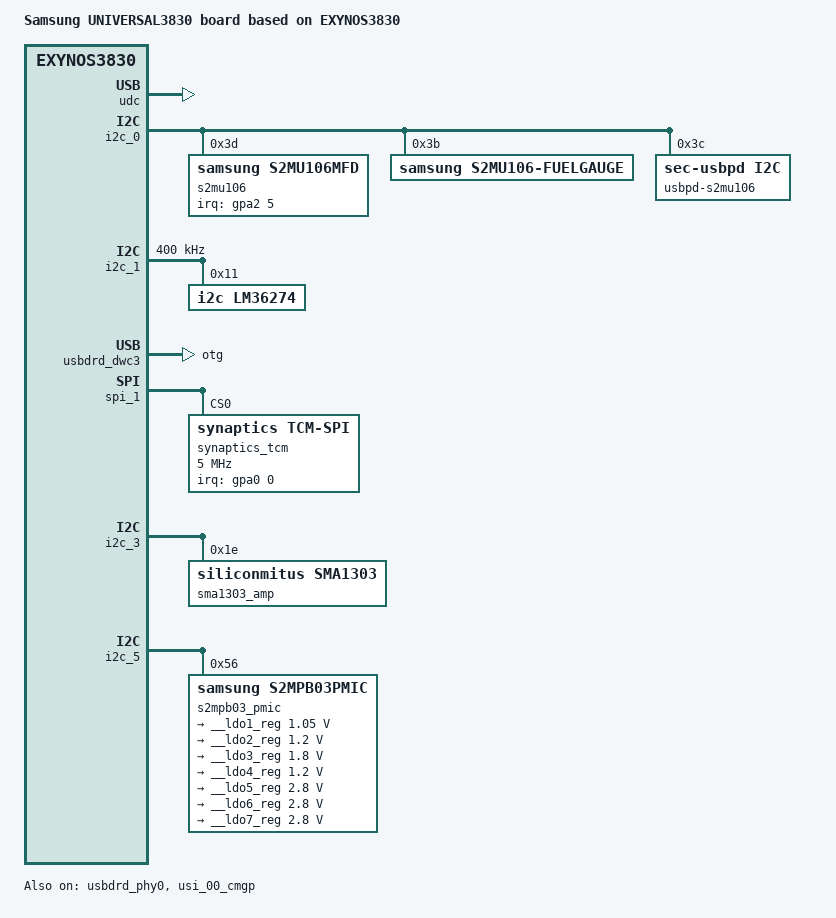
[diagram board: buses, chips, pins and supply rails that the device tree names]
/*
 * SAMSUNG EXYNOS3830 board device tree source
 *
 * Copyright (c) 2018 Samsung Electronics Co., Ltd.
 *		http://www.samsung.com
 *
 * This program is free software; you can redistribute it and/or modify
 * it under the terms of the GNU General Public License version 2 as
 * published by the Free Software Foundation.
*/

/dts-v1/;
/plugin/;
#include "exynos3830-board_common.dtsi"
#include "exynos3830-universal3830-cp-s318ap-sipc.dtsi"
#include "exynos3830_universal3830_battery_data.dtsi"

/ {
	compatible = "samsung,exynos3830", "samsung,UNIVERSAL3830";
	board_id = <0x0>;
	board_rev = <0x1>;

	fragment@model {
		target-path = "/";
		__overlay__ {
			#address-cells = <2>;
			#size-cells = <1>;

			model = "Samsung UNIVERSAL3830 board based on EXYNOS3830";

			dummy_audio_codec: audio-codec-dummy {
				compatible = "snd-soc-dummy";
				#sound-dai-cells = <0>;
			};

			sound {
				compatible = "samsung,exynos3830-madera";

				samsung,routing = "SPEAKER", "OUTL",
					"AEC Loopback", "SPEAKER FB",
					"ABOX SPDY Capture", "VINPUT_FM",
					"BLUETOOTH2 SPK", "ABOX UAIF2 Playback",
					"ABOX UAIF2 Capture", "BLUETOOTH2 MIC",
					"ECHO SPK", "ABOX ECHO Playback",
					"ABOX ECHO Capture", "ECHO MIC",
					"FWD SPK", "ABOX FWD Playback",
					"ABOX FWD Capture", "FWD MIC";

				samsung,aux = <&abox_tplg>;

				rdma0 {
					cpu {
						sound-dai = <&abox_rdma_0 0>;
					};
					platform {
						sound-dai = <&abox_rdma_0 0>;
					};
					codec {
						sound-dai = <&dummy_audio_codec>;
					};
				};
				rdma1 {
					cpu {
						sound-dai = <&abox_rdma_1 0>;
					};
					platform {
						sound-dai = <&abox_rdma_1 0>;
					};
					codec {
						sound-dai = <&dummy_audio_codec>;
					};
				};
				rdma2 {
					cpu {
						sound-dai = <&abox_rdma_2 0>;
					};
					platform {
						sound-dai = <&abox_rdma_2 0>;
					};
					codec {
						sound-dai = <&dummy_audio_codec>;
					};
				};
				rdma3 {
					cpu {
						sound-dai = <&abox_rdma_3 0>;
					};
					platform {
						sound-dai = <&abox_rdma_3 0>;
					};
					codec {
						sound-dai = <&dummy_audio_codec>;
					};
				};
				rdma4 {
					cpu {
						sound-dai = <&abox_rdma_4 0>;
					};
					platform {
						sound-dai = <&abox_rdma_4 0>;
					};
					codec {
						sound-dai = <&dummy_audio_codec>;
					};
				};
				rdma5 {
					cpu {
						sound-dai = <&abox_rdma_5 0>;
					};
					platform {
						sound-dai = <&abox_rdma_5 0>;
					};
					codec {
						sound-dai = <&dummy_audio_codec>;
					};
				};
				rdma6 {
					cpu {
						sound-dai = <&abox_rdma_6 0>;
					};
					platform {
						sound-dai = <&abox_rdma_6 0>;
					};
					codec {
						sound-dai = <&dummy_audio_codec>;
					};
				};
				rdma7 {
					cpu {
						sound-dai = <&abox_rdma_7 0>;
					};
					platform {
						sound-dai = <&abox_rdma_7 0>;
					};
					codec {
						sound-dai = <&dummy_audio_codec>;
					};
				};
				rdma8 {
					cpu {
						sound-dai = <&abox_rdma_8 0>;
					};
					platform {
						sound-dai = <&abox_rdma_8 0>;
					};
					codec {
						sound-dai = <&dummy_audio_codec>;
					};
				};
				rdma9 {
					cpu {
						sound-dai = <&abox_rdma_9 0>;
					};
					platform {
						sound-dai = <&abox_rdma_9 0>;
					};
					codec {
						sound-dai = <&dummy_audio_codec>;
					};
				};
				rdma10 {
					cpu {
						sound-dai = <&abox_rdma_10 0>;
					};
					platform {
						sound-dai = <&abox_rdma_10 0>;
					};
					codec {
						sound-dai = <&dummy_audio_codec>;
					};
				};
				rdma11 {
					cpu {
						sound-dai = <&abox_rdma_11 0>;
					};
					platform {
						sound-dai = <&abox_rdma_11 0>;
					};
					codec {
						sound-dai = <&dummy_audio_codec>;
					};
				};
				wdma0 {
					cpu {
						sound-dai = <&abox_wdma_0 0>;
					};
					platform {
						sound-dai = <&abox_wdma_0 0>;
					};
					codec {
						sound-dai = <&dummy_audio_codec>;
					};
				};
				wdma1 {
					cpu {
						sound-dai = <&abox_wdma_1 0>;
					};
					platform {
						sound-dai = <&abox_wdma_1 0>;
					};
					codec {
						sound-dai = <&dummy_audio_codec>;
					};
				};
				wdma2 {
					cpu {
						sound-dai = <&abox_wdma_2 0>;
					};
					platform {
						sound-dai = <&abox_wdma_2 0>;
					};
					codec {
						sound-dai = <&dummy_audio_codec>;
					};
				};
				wdma3 {
					cpu {
						sound-dai = <&abox_wdma_3 0>;
					};
					platform {
						sound-dai = <&abox_wdma_3 0>;
					};
					codec {
						sound-dai = <&dummy_audio_codec>;
					};
				};
				wdma4 {
					cpu {
						sound-dai = <&abox_wdma_4 0>;
					};
					platform {
						sound-dai = <&abox_wdma_4 0>;
					};
					codec {
						sound-dai = <&dummy_audio_codec>;
					};
				};
				dual0 {
					cpu {
						sound-dai = <&abox_dual_0>;
					};
					platform {
						sound-dai = <&abox_dual_0>;
					};
					codec {
						sound-dai = <&dummy_audio_codec>;
					};
				};
				dual1 {
					cpu {
						sound-dai = <&abox_dual_1>;
					};
					platform {
						sound-dai = <&abox_dual_1>;
					};
					codec {
						sound-dai = <&dummy_audio_codec>;
					};
				};
				dual2 {
					cpu {
						sound-dai = <&abox_dual_2>;
					};
					platform {
						sound-dai = <&abox_dual_2>;
					};
					codec {
						sound-dai = <&dummy_audio_codec>;
					};
				};
				dual3 {
					cpu {
						sound-dai = <&abox_dual_3>;
					};
					platform {
						sound-dai = <&abox_dual_3>;
					};
					codec {
						sound-dai = <&dummy_audio_codec>;
					};
				};
				dual4 {
					cpu {
						sound-dai = <&abox_dual_4>;
					};
					platform {
						sound-dai = <&abox_dual_4>;
					};
					codec {
						sound-dai = <&dummy_audio_codec>;
					};
				};
				ddma0 {
					cpu {
						sound-dai = <&abox_ddma_0>;
					};
					platform {
						sound-dai = <&abox_ddma_0>;
					};
					codec {
						sound-dai = <&dummy_audio_codec>;
					};
				};
				ddma1 {
					cpu {
						sound-dai = <&abox_ddma_1>;
					};
					platform {
						sound-dai = <&abox_ddma_1>;
					};
					codec {
						sound-dai = <&dummy_audio_codec>;
					};
				};
				ddma2 {
					cpu {
						sound-dai = <&abox_ddma_2>;
					};
					platform {
						sound-dai = <&abox_ddma_2>;
					};
					codec {
						sound-dai = <&dummy_audio_codec>;
					};
				};
				ddma3 {
					cpu {
						sound-dai = <&abox_ddma_3>;
					};
					platform {
						sound-dai = <&abox_ddma_3>;
					};
					codec {
						sound-dai = <&dummy_audio_codec>;
					};
				};
				ddma4 {
					cpu {
						sound-dai = <&abox_ddma_4>;
					};
					platform {
						sound-dai = <&abox_ddma_4>;
					};
					codec {
						sound-dai = <&dummy_audio_codec>;
					};
				};
				ddma5 {
					cpu {
						sound-dai = <&abox_ddma_5>;
					};
					platform {
						sound-dai = <&abox_ddma_5>;
					};
					codec {
						sound-dai = <&dummy_audio_codec>;
					};
				};
				uaif0 {
					format = "i2s";
					cpu {
						sound-dai = <&abox_uaif_0>;
					};
					codec {
						sound-dai = <&codec_aud3004x>;
					};
				};
				uaif1 {
					format = "i2s";
					cpu {
						sound-dai = <&abox_uaif_1>;
					};
					codec {
						sound-dai = <&sma1303_amp>;
					};
				};
				uaif2 {
					format = "i2s";
					cpu {
						sound-dai = <&abox_uaif_2>;
					};
					codec {
						sound-dai = <&dummy_audio_codec>;
					};
				};
				spdy {
					cpu {
						sound-dai = <&abox_spdy>;
					};
					codec {
						sound-dai = <&dummy_audio_codec>;
					};
				};
				sifs0 {
					cpu {
						sound-dai = <&abox 0>;
					};
					codec {
						sound-dai = <&dummy_audio_codec>;
					};
				};
				sifs1 {
					cpu {
						sound-dai = <&abox 1>;
					};
					codec {
						sound-dai = <&dummy_audio_codec>;
					};
				};
				sifs2 {
					cpu {
						sound-dai = <&abox 2>;
					};
					codec {
						sound-dai = <&dummy_audio_codec>;
					};
				};
				sifs3 {
					cpu {
						sound-dai = <&abox 3>;
					};
					codec {
						sound-dai = <&dummy_audio_codec>;
					};
				};
				sifs4 {
					cpu {
						sound-dai = <&abox 4>;
					};
					codec {
						sound-dai = <&dummy_audio_codec>;
					};
				};
				sifs5 {
					cpu {
						sound-dai = <&abox 5>;
					};
					codec {
						sound-dai = <&dummy_audio_codec>;
					};
				};
				nsrc0 {
					cpu {
						sound-dai = <&abox 8>;
					};
					codec {
						sound-dai = <&dummy_audio_codec>;
					};
				};
				nsrc1 {
					cpu {
						sound-dai = <&abox 9>;
					};
					codec {
						sound-dai = <&dummy_audio_codec>;
					};
				};
				nsrc2 {
					cpu {
						sound-dai = <&abox 10>;
					};
					codec {
						sound-dai = <&dummy_audio_codec>;
					};
				};
				nsrc3 {
					cpu {
						sound-dai = <&abox 11>;
					};
					codec {
						sound-dai = <&dummy_audio_codec>;
					};
				};
				nsrc4 {
					cpu {
						sound-dai = <&abox 12>;
					};
					codec {
						sound-dai = <&dummy_audio_codec>;
					};
				};
				rdma0_be {
					cpu {
						sound-dai = <&abox_rdma_0 1>;
					};
					platform {
						sound-dai = <&abox_rdma_0 1>;
					};
					codec {
						sound-dai = <&dummy_audio_codec>;
					};
				};
				rdma1_be {
					cpu {
						sound-dai = <&abox_rdma_1 1>;
					};
					platform {
						sound-dai = <&abox_rdma_1 1>;
					};
					codec {
						sound-dai = <&dummy_audio_codec>;
					};
				};
				rdma2_be {
					cpu {
						sound-dai = <&abox_rdma_2 1>;
					};
					platform {
						sound-dai = <&abox_rdma_2 1>;
					};
					codec {
						sound-dai = <&dummy_audio_codec>;
					};
				};
				rdma3_be {
					cpu {
						sound-dai = <&abox_rdma_3 1>;
					};
					platform {
						sound-dai = <&abox_rdma_3 1>;
					};
					codec {
						sound-dai = <&dummy_audio_codec>;
					};
				};
				rdma4_be {
					cpu {
						sound-dai = <&abox_rdma_4 1>;
					};
					platform {
						sound-dai = <&abox_rdma_4 1>;
					};
					codec {
						sound-dai = <&dummy_audio_codec>;
					};
				};
				rdma5_be {
					cpu {
						sound-dai = <&abox_rdma_5 1>;
					};
					platform {
						sound-dai = <&abox_rdma_5 1>;
					};
					codec {
						sound-dai = <&dummy_audio_codec>;
					};
				};
				rdma6_be {
					cpu {
						sound-dai = <&abox_rdma_6 1>;
					};
					platform {
						sound-dai = <&abox_rdma_6 1>;
					};
					codec {
						sound-dai = <&dummy_audio_codec>;
					};
				};
				rdma7_be {
					cpu {
						sound-dai = <&abox_rdma_7 1>;
					};
					platform {
						sound-dai = <&abox_rdma_7 1>;
					};
					codec {
						sound-dai = <&dummy_audio_codec>;
					};
				};
				rdma8_be {
					cpu {
						sound-dai = <&abox_rdma_8 1>;
					};
					platform {
						sound-dai = <&abox_rdma_8 1>;
					};
					codec {
						sound-dai = <&dummy_audio_codec>;
					};
				};
				rdma9_be {
					cpu {
						sound-dai = <&abox_rdma_9 1>;
					};
					platform {
						sound-dai = <&abox_rdma_9 1>;
					};
					codec {
						sound-dai = <&dummy_audio_codec>;
					};
				};
				rdma10_be {
					cpu {
						sound-dai = <&abox_rdma_10 1>;
					};
					platform {
						sound-dai = <&abox_rdma_10 1>;
					};
					codec {
						sound-dai = <&dummy_audio_codec>;
					};
				};
				rdma11_be {
					cpu {
						sound-dai = <&abox_rdma_11 1>;
					};
					platform {
						sound-dai = <&abox_rdma_11 1>;
					};
					codec {
						sound-dai = <&dummy_audio_codec>;
					};
				};
				wdma0_be {
					cpu {
						sound-dai = <&abox_wdma_0 1>;
					};
					platform {
						sound-dai = <&abox_wdma_0 1>;
					};
					codec {
						sound-dai = <&dummy_audio_codec>;
					};
				};
				wdma1_be {
					cpu {
						sound-dai = <&abox_wdma_1 1>;
					};
					platform {
						sound-dai = <&abox_wdma_1 1>;
					};
					codec {
						sound-dai = <&dummy_audio_codec>;
					};
				};
				wdma2_be {
					cpu {
						sound-dai = <&abox_wdma_2 1>;
					};
					platform {
						sound-dai = <&abox_wdma_2 1>;
					};
					codec {
						sound-dai = <&dummy_audio_codec>;
					};
				};
				wdma3_be {
					cpu {
						sound-dai = <&abox_wdma_3 1>;
					};
					platform {
						sound-dai = <&abox_wdma_3 1>;
					};
					codec {
						sound-dai = <&dummy_audio_codec>;
					};
				};
				wdma4_be {
					cpu {
						sound-dai = <&abox_wdma_4 1>;
					};
					platform {
						sound-dai = <&abox_wdma_4 1>;
					};
					codec {
						sound-dai = <&dummy_audio_codec>;
					};
				};
				echo {
					cpu {
						sound-dai = <&abox 17>;
					};
					codec {
						sound-dai = <&dummy_audio_codec>;
					};
				};
				fwd {
					cpu {
						sound-dai = <&abox 18>;
					};
					codec {
						sound-dai = <&dummy_audio_codec>;
					};
				};
			}; /* end of soundcard */

			usb_hs_tune:hs_tune {
				status = "disabled";
				hs_tune_cnt = <10>;
				/* value = <device host> */
				hs_tune1 {
					tune_name = "tx_pre_emp";
					tune_value = <0x3 0x3>;
				};

				hs_tune2 {
					tune_name = "tx_pre_emp_plus";
					tune_value = <0x0 0x0>;
				};

				hs_tune3 {
					tune_name = "tx_vref";
					tune_value = <0xf 0xf>;
				};

				hs_tune4 {
					tune_name = "rx_sqrx";
					tune_value = <0x7 0x7>;
				};

				hs_tune5 {
					tune_name = "tx_rise";
					tune_value = <0x3 0x3>;
				};

				hs_tune6 {
					tune_name = "compdis";
					tune_value = <0x7 0x7>;
				};

				hs_tune7 {
					tune_name = "tx_hsxv";
					tune_value = <0x3 0x3>;
				};

				hs_tune8 {
					tune_name = "tx_fsls";
					tune_value = <0x3 0x3>;
				};

				hs_tune9 {
					tune_name = "tx_res";
					tune_value = <0x3 0x3>;
				};

				hs_tune10 {
					tune_name = "utmi_clk";
					tune_value = <0x1 0x1>;
				};
			};
			usb_notifier {
				compatible = "samsung,usb-notifier";
				udc = <&udc>;
			};

			acpm_mfd_bus@11A50000 {
				status = "okay";
				#address-cells = <1>;
				#size-cells = <0>;
				interrupt-parent = <&gic>;
				codec_aud3004x: aud3004x@07 {
					compatible = "codec,aud3004x";
					#sound-dai-cells = <0>;
					reg = <0x07>;
					i2c-speedy-address;
					pinctrl-names = "default";
					io-channels = <&exynos_adc 7>,<&exynos_adc 6>;
					io-channel-names = "adc-gdet","adc-ear";
					#io-channel-cells = <1>;
					mic-adc-range = <1404>;
					adc-thd-fake-jack = <321>;
					adc-thd-auxcable = <551>;
					adc-thd-water-in = <671>;
					adc-thd-water-out = <3151>;
					but-zones-list = <&but_zones 226 0 350>,
						<&but_zones 582 351 500>,
						<&but_zones 115 501 700>,
						<&but_zones 114 701 1161>;
					btn-release-value = <1404>;
				};
				s2mpu12mfd@00 {
					compatible = "samsung,s2mpu12mfd";
					acpm-ipc-channel = <2>;
					i2c-speedy-address;
					s2mpu12,wakeup = "enabled";
					reg = <0x00>;
					interrupts = <GIC_SPI INTREQ__PMIC IRQ_TYPE_LEVEL_HIGH>;
					pinctrl-names = "default";
					pinctrl-0 = <&pm_wrstbi>;
					/* RTC: wtsr/smpl */
					wtsr_en = "enabled"; /* enable */
					smpl_en = "enabled"; /* enable */
					wtsr_timer_val = <3>;	/* 1000ms */
					smpl_timer_val = <4>;	/* 500ms */
					check_jigon = <0>; /* do not check jigon */
					/* RTC: If it's first boot, reset rtc to 1/1/2019 12:00:00(Tue) */
					init_time,sec = <0>;
					init_time,min = <0>;
					init_time,hour = <12>;
					init_time,mday = <1>;
					init_time,mon = <0>;
					init_time,year = <119>;
					init_time,wday = <2>;

					s2mpu12-keys {
						button@1 {
							label = "pmic-keys: KEY_POWER";
							linux,code = <116>;
							wakeup = <1>;
						};
					};

					regulators {
						b1_reg: BUCK1 {
							regulator-name = "vdd_cpu";
							regulator-min-microvolt = <500000>;
							regulator-max-microvolt = <1200000>;
							regulator-always-on;
							regulator-ramp-delay = <6000>;
							regulator-initial-mode = <3>;
						};

						b2_reg: BUCK2 {
							regulator-name = "vdd_gpu";
							regulator-min-microvolt = <500000>;
							regulator-max-microvolt = <1200000>;
							regulator-always-on;
							regulator-ramp-delay = <6000>;
							regulator-initial-mode = <1>;
						};
/*
						b3_reg: BUCK3 {
							regulator-name = "vdd_cp";
							regulator-min-microvolt = <500000>;
							regulator-max-microvolt = <1200000>;
							regulator-always-on;
							regulator-ramp-delay = <6000>;
							regulator-initial-mode = <3>;
						};
 */
						b4_reg: BUCK4 {
							regulator-name = "vdd_lldo";
							regulator-min-microvolt = <900000>;
							regulator-max-microvolt = <1500000>;
							regulator-always-on;
							regulator-ramp-delay = <6000>;
							regulator-initial-mode = <3>;
						};

						b5_reg: BUCK5 {
							regulator-name = "vdd_mldo";
							regulator-min-microvolt = <1800000>;
							regulator-max-microvolt = <2100000>;
							regulator-always-on;
							regulator-ramp-delay = <6000>;
							regulator-initial-mode = <3>;
						};

						l1_reg: LDO1 {
							regulator-name = "vdd_ldo1";
							regulator-min-microvolt = <700000>;
							regulator-max-microvolt = <1300000>;
							regulator-always-on;
							regulator-ramp-delay = <12000>;
							regulator-initial-mode = <3>;
						};

						l2_reg: LDO2 {
							regulator-name = "vdd_ldo2";
							regulator-min-microvolt = <1600000>;
							regulator-max-microvolt = <1950000>;
							regulator-always-on;
							regulator-ramp-delay = <12000>;
							regulator-initial-mode = <3>;
						};

						l3_reg: LDO3 {
							regulator-name = "vdd_ldo3";
							regulator-min-microvolt = <700000>;
							regulator-max-microvolt = <1300000>;
							regulator-always-on;
							regulator-ramp-delay = <12000>;
							regulator-initial-mode = <1>;
						};

						l4_reg: LDO4 {
							regulator-name = "vdd_ldo4";
							regulator-min-microvolt = <1600000>;
							regulator-max-microvolt = <1950000>;
							regulator-always-on;
							regulator-ramp-delay = <12000>;
							regulator-initial-mode = <1>;
						};

						l5_reg: LDO5 {
							regulator-name = "vdd_ldo5";
							regulator-min-microvolt = <700000>;
							regulator-max-microvolt = <1300000>;
							regulator-always-on;
							regulator-ramp-delay = <12000>;
							regulator-initial-mode = <3>;
						};

						l6_reg: LDO6 {
							regulator-name = "vdd_ldo6";
							regulator-min-microvolt = <500000>;
							regulator-max-microvolt = <1187500>;
							regulator-always-on;
							regulator-ramp-delay = <12000>;
							regulator-initial-mode = <1>;
						};

						l7_reg: LDO7 {
							regulator-name = "vdd_ldo7";
							regulator-min-microvolt = <700000>;
							regulator-max-microvolt = <1300000>;
							regulator-always-on;
							regulator-ramp-delay = <12000>;
							regulator-initial-mode = <1>;
						};

						l8_reg: LDO8 {
							regulator-name = "vdd_ldo8";
							regulator-min-microvolt = <500000>;
							regulator-max-microvolt = <1300000>;
							regulator-always-on;
							regulator-ramp-delay = <12000>;
							regulator-initial-mode = <1>;
						};

						l9_reg: LDO9 {
							regulator-name = "vdd_ldo9";
							regulator-min-microvolt = <500000>;
							regulator-max-microvolt = <1300000>;
							regulator-always-on;
							regulator-ramp-delay = <12000>;
							regulator-initial-mode = <1>;
						};

						l10_reg: LDO10 {
							regulator-name = "vqmmc";
							regulator-min-microvolt = <1800000>;
							regulator-max-microvolt = <3375000>;
							regulator-ramp-delay = <12000>;
							regulator-initial-mode = <3>;
						};

						l11_reg: LDO11 {
							regulator-name = "vdd_ldo11";
							regulator-min-microvolt = <1800000>;
							regulator-max-microvolt = <3375000>;
							regulator-always-on;
							regulator-ramp-delay = <12000>;
							regulator-initial-mode = <3>;
						};
/*
						l12_reg: LDO12 {
							regulator-name = "vdd_ldo12";
							regulator-min-microvolt = <700000>;
							regulator-max-microvolt = <1300000>;
							regulator-always-on;
							regulator-ramp-delay = <12000>;
							regulator-initial-mode = <3>;
						};

						l13_reg: LDO13 {
							regulator-name = "vdd_ldo13";
							regulator-min-microvolt = <700000>;
							regulator-max-microvolt = <1300000>;
							regulator-always-on;
							regulator-ramp-delay = <12000>;
							regulator-initial-mode = <3>;
						};

						l14_reg: LDO14 {
							regulator-name = "vdd_ldo14";
							regulator-min-microvolt = <1600000>;
							regulator-max-microvolt = <1950000>;
							regulator-always-on;
							regulator-ramp-delay = <12000>;
							regulator-initial-mode = <3>;
						};

						l15_reg: LDO15 {
							regulator-name = "vdd_ldo15";
							regulator-min-microvolt = <1800000>;
							regulator-max-microvolt = <3375000>;
							regulator-always-on;
							regulator-ramp-delay = <12000>;
							regulator-initial-mode = <3>;
						};

						l16_reg: LDO16 {
							regulator-name = "vdd_ldo16";
							regulator-min-microvolt = <1800000>;
							regulator-max-microvolt = <3375000>;
							regulator-always-on;
							regulator-ramp-delay = <12000>;
							regulator-initial-mode = <3>;
						};

						l17_reg: LDO17 {
							regulator-name = "vdd_ldo17";
							regulator-min-microvolt = <700000>;
							regulator-max-microvolt = <1300000>;
							regulator-always-on;
							regulator-ramp-delay = <12000>;
							regulator-initial-mode = <3>;
						};

						l18_reg: LDO18 {
							regulator-name = "vdd_ldo18";
							regulator-min-microvolt = <700000>;
							regulator-max-microvolt = <1300000>;
							regulator-always-on;
							regulator-ramp-delay = <12000>;
							regulator-initial-mode = <3>;
						};

						l19_reg: LDO19 {
							regulator-name = "vdd_ldo19";
							regulator-min-microvolt = <700000>;
							regulator-max-microvolt = <1300000>;
							regulator-always-on;
							regulator-ramp-delay = <12000>;
							regulator-initial-mode = <3>;
						};

						l20_reg: LDO20 {
							regulator-name = "vdd_ldo20";
							regulator-min-microvolt = <1600000>;
							regulator-max-microvolt = <1950000>;
							regulator-always-on;
							regulator-ramp-delay = <12000>;
							regulator-initial-mode = <3>;
						};

						l21_reg: LDO21 {
							regulator-name = "vdd_ldo21";
							regulator-min-microvolt = <1800000>;
							regulator-max-microvolt = <3375000>;
							regulator-always-on;
							regulator-ramp-delay = <12000>;
							regulator-initial-mode = <3>;
						};

						l22_reg: LDO22 {
							regulator-name = "vdd_ldo22";
							regulator-min-microvolt = <1800000>;
							regulator-max-microvolt = <3375000>;
							regulator-always-on;
							regulator-ramp-delay = <12000>;
							regulator-initial-mode = <3>;
						};
 */
						l23_reg: LDO23 {
							regulator-name = "vdd_ldo23";
							regulator-min-microvolt = <1800000>;
							regulator-max-microvolt = <3375000>;
							regulator-always-on;
							regulator-ramp-delay = <12000>;
							regulator-initial-mode = <3>;
						};

						l24_reg: LDO24 {
							regulator-name = "vmmc";
							regulator-min-microvolt = <1800000>;
							regulator-max-microvolt = <3375000>;
							regulator-ramp-delay = <12000>;
							regulator-initial-mode = <3>;
						};

						l25_reg: LDO25 {
							regulator-name = "vdd_ldo25";
							regulator-min-microvolt = <1800000>;
							regulator-max-microvolt = <3375000>;
							regulator-always-on;
							regulator-ramp-delay = <12000>;
							regulator-initial-mode = <3>;
						};

						l26_reg: LDO26 {
							regulator-name = "vdd_ldo26";
							regulator-min-microvolt = <1800000>;
							regulator-max-microvolt = <3375000>;
							regulator-always-on;
							regulator-ramp-delay = <12000>;
							regulator-initial-mode = <3>;
						};

						l27_reg: LDO27 {
							regulator-name = "vdd_ldo27";
							regulator-min-microvolt = <1800000>;
							regulator-max-microvolt = <3375000>;
							regulator-always-on;
							regulator-ramp-delay = <12000>;
							regulator-initial-mode = <3>;
						};

						l28_reg: LDO28 {
							regulator-name = "vdd_ldo28";
							regulator-min-microvolt = <1600000>;
							regulator-max-microvolt = <1950000>;
							regulator-boot-on;
							regulator-ramp-delay = <12000>;
							regulator-initial-mode = <3>;
						};


						l29_reg: LDO29 {
							regulator-name = "vdd_ldo29";
							regulator-min-microvolt = <700000>;
							regulator-max-microvolt = <1300000>;
							regulator-always-on;
							regulator-ramp-delay = <12000>;
							regulator-initial-mode = <3>;
						};

						l30_reg: LDO30 {
							regulator-name = "vdd_ldo30";
							regulator-min-microvolt = <1600000>;
							regulator-max-microvolt = <1950000>;
							regulator-always-on;
							regulator-ramp-delay = <12000>;
							regulator-initial-mode = <3>;
						};

						l31_reg: LDO31 {
							regulator-name = "vdd_ldo31";
							regulator-min-microvolt = <1800000>;
							regulator-max-microvolt = <3375000>;
							regulator-always-on;
							regulator-ramp-delay = <12000>;
							regulator-initial-mode = <3>;
						};

						l32_reg: LDO32 {
							regulator-name = "vdd_ldo32";
							regulator-min-microvolt = <1800000>;
							regulator-max-microvolt = <3375000>;
							regulator-always-on;
							regulator-ramp-delay = <12000>;
							regulator-initial-mode = <3>;
						};

						l33_reg: LDO33 {
							regulator-name = "vdd_aldo1";
							regulator-min-microvolt = <1600000>;
							regulator-max-microvolt = <1950000>;
							regulator-always-on;
							regulator-ramp-delay = <12000>;
							regulator-initial-mode = <3>;
						};

						l34_reg: LDO34 {
							regulator-name = "vdd_aldo2";
							regulator-min-microvolt = <1800000>;
							regulator-max-microvolt = <3375000>;
							regulator-always-on;
							regulator-ramp-delay = <12000>;
							regulator-initial-mode = <3>;
						};

						l35_reg: LDO35 {
							regulator-name = "vdd_ldo_core";
							regulator-min-microvolt = <1600000>;
							regulator-max-microvolt = <1950000>;
							regulator-always-on;
							regulator-ramp-delay = <12000>;
							regulator-initial-mode = <1>;
						};

						l36_reg: LDO36 {
							regulator-name = "vdd_ldo_buf";
							regulator-min-microvolt = <700000>;
							regulator-max-microvolt = <1300000>;
							regulator-always-on;
							regulator-ramp-delay = <12000>;
							regulator-initial-mode = <3>;
						};
					}; /* end of regulators */
				}; /* end of s2mpu12mfd@00 */
			}; /* end of acpm_mfd_bus@11a10000 */
		}; /* end of __overlay__ */
	}; /* end of fragment */
}; /* end of root */

&panel_0 {
	/* reset, power */
	gpios = <&gpg2 4 0x1>, <&gpg2 1 0x1> ;
	regulator_1p8v = "vdd_ldo28";
};

&udc {
	status = "okay";
};

&pinctrl_0 {
	if_pmic_irq: if-pmic-irq {
		samsung,pins = "gpa2-5";
		samsung,pin-function = <0>;
		samsung,pin-pud = <0>;
		samsung,pin-drv = <0>;
	};

	intr_on: intr-on {
		samsung,pins = "gpa0-0";
		samsung,pin-function = <0xf>;
		samsung,pin-pud = <0>;
		samsung,pin-drv = <0>;
	};

	intr_off: intr-off {
		samsung,pins = "gpa0-0";
		samsung,pin-function = <0>;
		samsung,pin-pud = <1>;
	};

	fuel_irq: fuel-irq {
		samsung,pins = "gpa3-0";
		samsung,pin-function = <0>;
		samsung,pin-pud = <2>;
		samsung,pin-drv = <0>;
	};

	usbpd_irq: usbpd_irq {
		samsung,pins = "gpa0-6";
		samsung,pin-function = <0xf>;
		samsung,pin-pud = <3>;
		samsung-pin-drv = <3>;
	};

};

&pinctrl_5 {
	pm_wrstbi: pm-wrstbi {
		samsung,pins = "gpg1-5";
		samsung,pin-con-pdn = <3>;
	};
};

&i2c_0 {
	#address-cells = <1>;
	#size-cells = <0>;
	s2mu106@3d {
		compatible = "samsung,s2mu106mfd";
		reg = <0x3d>;
		pinctrl-names = "default";
		pinctrl-0 = <&if_pmic_irq>;
		s2mu106,irq-gpio = <&gpa2 5 0>;
		s2mu106,wakeup;
	};

	s2mu106-fuelgauge@3B {
		compatible = "samsung,s2mu106-fuelgauge";
		reg = <0x3B>;
		pinctrl-names = "default";
		pinctrl-0 = <&fuel_irq>;
		fuelgauge,fuel_int = <&gpa3 0 0>;
		fuelgauge,fuel_alert_vol = <3400>;
		fuelgauge,fuel_alert_soc = <1>;
		fuelgauge,type_str = "SDI";
		fuelgauge,model_type = <1>;
	};

	usbpd-s2mu106@3C {
		compatible = "sec-usbpd,i2c";
		reg = <0x3C>;
		pinctrl-names = "default";
		pinctrl-0 = <&usbpd_irq>;
		usbpd,usbpd_int = <&gpa0 6 0>;

		pdic-manager {
			/* sink */
			pdic,max_power = <5000>;
			pdic_op_power = <2500>;
			pdic_max_voltage = <6000>;
			pdic_max_current = <2000>;
			pdic,min_current = <500>;

			pdic,giveback = <0>;
			pdic,usb_com_capable = <1>;
			pdic,no_usb_suspend = <1>;

			/* source */
			source,max_voltage = <5000>;
			source,min_voltage = <4000>;
			source,max_power = <2500>;

			/* sink cap */
			sink,capable_max_voltage = <5000>;
		};
	};
};

&i2c_1 {
	#address-cells = <1>;
	#size-cells = <0>;
	clock-frequency = <400000>;
	status = "okay";

	lm36274@11 {
		compatible = "i2c,lm36274";
		reg = <0x11>;
	};
};

&usbdrd_dwc3 {
	dr_mode = "otg";
	maximum-speed = "high-speed";
	snps,quirk-frame-length-adjustment = <0x20>;
	snps,u1u2_exitfail_quirk;
	/* ux_exit_in_px should be defined in MK, LT */
	snps,ux_exit_in_px_quirk;
	/* elastic_buf_mode_quirk should be defined in MK */
	snps,elastic_buf_mode_quirk;
	/* usb3-lpm-capable;
	snps,usb3_lpm_capable;
	adj-sof-accuracy = <1>; */
	/*
	 * dis-u2-freeclk-exists-quirk, dis_u2_susphy_quirk are alternative.
	 * One of them should be selected
	 */
	snps,dis-u2-freeclk-exists-quirk;
	/*snps,dis_u2_susphy_quirk;*/

	usb_audio_offloading = <0>;
//	abox = <&abox>; /* Temporary block */
};

&usbdrd_phy0 {
	status = "okay";
	usb3phy-isolation= <1>;
	pinctrl-names = "default";
//	pinctrl-0 = <&phy_port>;
//	phy,gpio_phy_port = <&gpg0 4 0x0>;
	hs_tune_param = <&usb_hs_tune>;
//	ss_tune_param = <&usb_ss_tune>;
};

&usi_00_cmgp {
	status = "okay";
	usi_v2_mode = "spi";
};

&spi_1 {
	#address-cells = <1>;
	#size-cells = <0>;
	status = "okay";
	pinctrl-names = "default", "sleep";
	pinctrl-0 = <&spi1_bus &spi1_cs>;
	pinctrl-1 = <&spi1_sleep>;
	synaptics_tcm@0 {
		compatible = "synaptics,tcm-spi";
		reg = <0>;
		spi-max-frequency = <5000000>;
		pinctrl-names = "pmx_ts_active", "pmx_ts_suspend";
		pinctrl-0 = <&intr_on>;
		pinctrl-1 = <&intr_off>;
		synaptics,irq-gpio = <&gpa0 0 0x2008>; /* IRQF_ONESHOT | IRQF_TRIGGER_LOW */
		synaptics,irq-on-state = <0>;
		synaptics,spi-mode = <3>;
		synaptics,byte-delay-us = <0>;
		synaptics,block-delay-us = <0>;
		synaptics,ubl-max-freq = <5000000>;
		synaptics,ubl-byte-delay-us = <20>;
		synaptics,fw_name = "tsp_synaptics/td4150_a21s.bin";
		/* tp-io reset is only used for specific tddi devices */
		/* synaptics,tpio-reset-gpio = <&msm_gpio 102 0>; */
		controller-data {
			cs-gpio = <&gpm3 0 0>;
			samsung,spi-feedback-delay = <0>;
			samsung,spi-chip-select-mode = <0>;
		};
	};
};

&i2c_3 {
	#address-cells = <1>;
	#size-cells = <0>;
	status = "okay";

	sma1303_amp: sma1303@1e {
		compatible = "siliconmitus,sma1303";
		#sound-dai-cells = <0>;
		reg = <0x1e>;
		init-vol = <0x31>;
		sys-clk-id = <0x03>;
		status = "okay";
	};
};

&i2c_5 {
	#address-cells = <1>;
	#size-cells = <0>;
	status = "okay";
	s2mpb03_pmic@56 { /* TODO: check */
		compatible = "samsung,s2mpb03pmic";
		reg = <0x56>;

		s2mpb03,wakeup;

		regulators {
			__ldo1_reg: s2mpb03-ldo1 {
				regulator-name = "S2MPB03_VLDO1";
				regulator-min-microvolt = <1050000>;
				regulator-max-microvolt = <1050000>;
			};

			__ldo2_reg: s2mpb03-ldo2 {
				regulator-name = "S2MPB03_VLDO2";
				regulator-min-microvolt = <1200000>;
				regulator-max-microvolt = <1200000>;
			};

			__ldo3_reg: s2mpb03-ldo3 {
				regulator-name = "S2MPB03_VLDO3";
				regulator-min-microvolt = <1800000>;
				regulator-max-microvolt = <1800000>;
			};

			__ldo4_reg: s2mpb03-ldo4 {
				regulator-name = "S2MPB03_VLDO4";
				regulator-min-microvolt = <1200000>;
				regulator-max-microvolt = <1200000>;
			};

			__ldo5_reg: s2mpb03-ldo5 {
				regulator-name = "S2MPB03_VLDO5";
				regulator-min-microvolt = <2800000>;
				regulator-max-microvolt = <2800000>;
			};

			__ldo6_reg: s2mpb03-ldo6 {
				regulator-name = "S2MPB03_VLDO6";
				regulator-min-microvolt = <2800000>;
				regulator-max-microvolt = <2800000>;
			};

			__ldo7_reg: s2mpb03-ldo7 {
				regulator-name = "S2MPB03_VLDO7";
				regulator-min-microvolt = <2800000>;
				regulator-max-microvolt = <2800000>;
			};
		};
	};
};

&abox {
	samsung,quirks = "try to asrc off", "aram mode", "use lsi codec";
};
